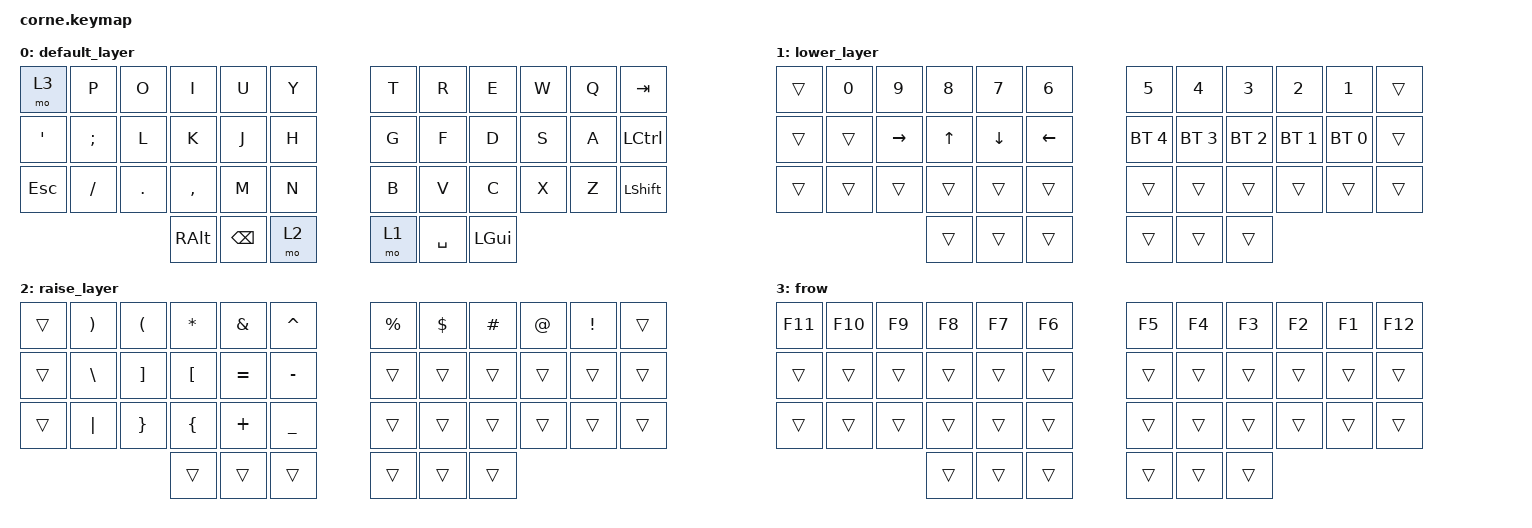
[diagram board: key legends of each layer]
/*
 * Copyright (c) 2020 The ZMK Contributors
 * SPDX-License-Identifier: MIT
 */

#include <behaviors.dtsi>
#include <dt-bindings/zmk/bt.h>
#include <dt-bindings/zmk/keys.h>

/ {
    combos {
        compatible = "zmk,combos";

        // ENTER combo on J L K (positions 9, 10, 11)
        enter {
            bindings = <&kp ENTER>;
            key-positions = <9 10 11>;
            timeout-ms = <50>;
        };
    };

    keymap {
        compatible = "zmk,keymap";

        // Layer 0: Default QWERTY
        default_layer {
            // Physical right half outputs QWERTY correctly
            // LETTERS ARE REVERSED to match physical layout
            // -----------------------------------------------------------------------------------------
            // | BSPC |  P  |  O  |  I  |  U  |  Y  |   |  T  |  R  |  E  |  W  |  Q  |  TAB |
            // |  '   |  ;  |  L  |  K  |  J  |  H  |   |  G  |  F  |  D  |  S  |  A  | CTRL |
            // | ESC  |  /  |  .  |  ,  |  M  |  N  |   |  B  |  V  |  C  |  X  |  Z  | SHFT |
            //                    | ALT | BSPC| RSE |   | LWR | SPC | GUI |

            bindings = <
&mo 3  &kp P  &kp O  &kp I  &kp U  &kp Y        &kp T  &kp R  &kp E  &kp W  &kp Q  &kp TAB
&kp SQT  &kp SEMICOLON  &kp L  &kp K  &kp J  &kp H        &kp G  &kp F  &kp D  &kp S  &kp A  &kp LCTRL
&kp ESC  &kp FSLH  &kp DOT  &kp COMMA  &kp M  &kp N        &kp B  &kp V  &kp C  &kp X  &kp Z  &kp LSHFT
                         &kp RIGHT_ALT  &kp BACKSPACE  &mo 2    &mo 1  &kp SPACE  &kp LGUI
            >;
        };

        // Layer 1: Lower (Numbers and arrows)
        lower_layer {
            // -----------------------------------------------------------------------------------------
            // | BSPC |  0  |  9  |  8  |  7  |  6  |   |  5  |  4  |  3  |  2  |  1  |  TAB |
            // |      |     | RGT | UP  | DWN | LFT |   | BT5 | BT4 | BT3 | BT2 | BT1 | CTRL |
            // |      |     |     |     |     |     |   |     |     |     |     |     | SHFT |
            //                    | ALT | BSPC|     |   |     | SPC | GUI |

            bindings = <
&trans  &kp N0  &kp N9  &kp N8  &kp N7  &kp N6        &kp N5  &kp N4  &kp N3  &kp N2  &kp N1  &trans
&trans  &trans  &kp RIGHT  &kp UP  &kp DOWN  &kp LEFT    &bt BT_SEL 4  &bt BT_SEL 3  &bt BT_SEL 2  &bt BT_SEL 1  &bt BT_SEL 0  &trans
&trans  &trans  &trans  &trans  &trans  &trans        &trans  &trans  &trans  &trans  &trans  &trans
                                        &trans  &trans  &trans        &trans  &trans  &trans
            >;
        };

        // Layer 2: Raise (Symbols)
        raise_layer {
            // -----------------------------------------------------------------------------------------
            // | BSPC |  )  |  (  |  *  |  &  |  ^  |   |  %  |  $  |  #  |  @  |  !  |  TAB |
            // |      |  \  |  ]  |  [  |  =  |  -  |   |     |     |     |     |     | CTRL |
            // |      | "|" |  }  |  {  |  +  |  _  |   |     |     |     |     |     | SHFT |
            //                    | ALT | BSPC|     |   |     | SPC | GUI |

            bindings = <
&trans  &kp RPAR  &kp LPAR  &kp ASTRK  &kp AMPS  &kp CARET    &kp PRCNT  &kp DLLR  &kp HASH  &kp AT  &kp EXCL  &trans
&trans  &kp BSLH  &kp RBKT  &kp LBKT  &kp EQUAL  &kp MINUS    &trans  &trans  &trans  &trans  &trans  &trans
&trans  &kp PIPE  &kp RBRC  &kp LBRC  &kp PLUS  &kp UNDER    &trans  &trans  &trans  &trans  &trans  &trans
                          &trans  &trans  &trans        &trans  &trans  &trans
            >;
        };

        // Layer 3: Function row
        frow {
            bindings = <
&kp F11  &kp F10  &kp F9  &kp F8  &kp F7  &kp F6    &kp F5  &kp F4  &kp F3  &kp F2  &kp F1  &kp F12
&trans   &trans  &trans  &trans  &trans  &trans    &trans  &trans  &trans  &trans  &trans  &trans
&trans   &trans  &trans  &trans  &trans  &trans    &trans  &trans  &trans  &trans  &trans  &trans
                         &trans  &trans  &trans    &trans  &trans  &trans
            >;
        };
    };
};
